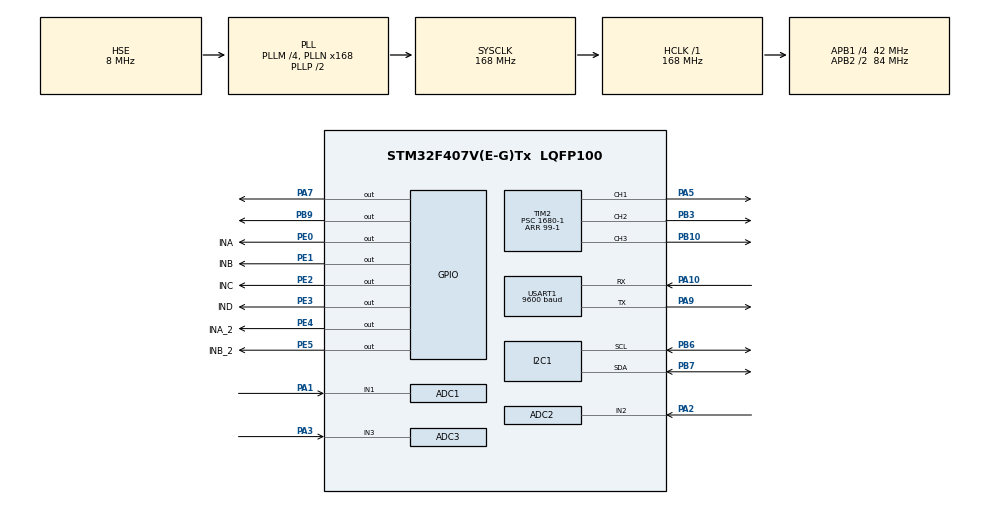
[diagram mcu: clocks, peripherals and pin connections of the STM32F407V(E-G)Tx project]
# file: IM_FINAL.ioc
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ADC1.Channel-3\#ChannelRegularConversion=ADC_CHANNEL_1
ADC1.ClockPrescaler=ADC_CLOCK_SYNC_PCLK_DIV8
ADC1.ContinuousConvMode=ENABLE
ADC1.NbrOfConversionFlag=1
ADC1.Rank-3\#ChannelRegularConversion=1
ADC1.SamplingTime-3\#ChannelRegularConversion=ADC_SAMPLETIME_15CYCLES
ADC1.master=1
ADC2.Channel-1\#ChannelRegularConversion=ADC_CHANNEL_2
ADC2.ClockPrescaler=ADC_CLOCK_SYNC_PCLK_DIV8
ADC2.ContinuousConvMode=ENABLE
ADC2.NbrOfConversionFlag=1
ADC2.Rank-1\#ChannelRegularConversion=1
ADC2.SamplingTime-1\#ChannelRegularConversion=ADC_SAMPLETIME_15CYCLES
ADC3.Channel-0\#ChannelRegularConversion=ADC_CHANNEL_3
ADC3.ClockPrescaler=ADC_CLOCK_SYNC_PCLK_DIV8
ADC3.ContinuousConvMode=ENABLE
ADC3.NbrOfConversionFlag=1
ADC3.Rank-0\#ChannelRegularConversion=1
ADC3.SamplingTime-0\#ChannelRegularConversion=ADC_SAMPLETIME_15CYCLES
I2C1.I2C_Mode=I2C_Fast
Mcu.Family=STM32F4
Mcu.Name=STM32F407V(E-G)Tx
Mcu.Package=LQFP100
NVIC.PriorityGroup=NVIC_PRIORITYGROUP_0
NVIC.USART1_IRQn=true\:0\:0\:false\:false\:true\:true\:true\:true
PA1.Signal=ADCx_IN1
PA10.GPIO_PuPd=GPIO_NOPULL
PA10.GPIO_Speed=GPIO_SPEED_FREQ_VERY_HIGH
PA10.Mode=Asynchronous
PA10.Signal=USART1_RX
PA13.Mode=Serial_Wire
PA13.Signal=SYS_JTMS-SWDIO
PA14.Mode=Serial_Wire
PA14.Signal=SYS_JTCK-SWCLK
PA2.Signal=ADCx_IN2
PA3.Signal=ADCx_IN3
PA5.Signal=S_TIM2_CH1_ETR
PA7.Signal=GPIO_Output
PA9.Mode=Asynchronous
PA9.Signal=USART1_TX
PB10.Signal=S_TIM2_CH3
PB3.Signal=S_TIM2_CH2
PB6.Mode=I2C
PB6.Signal=I2C1_SCL
PB7.Mode=I2C
PB7.Signal=I2C1_SDA
PB9.Signal=GPIO_Output
PE0.GPIO_Label=INA
PE0.Signal=GPIO_Output
PE1.GPIO_Label=INB
PE1.Signal=GPIO_Output
PE2.GPIO_Label=INC
PE2.Signal=GPIO_Output
PE3.GPIO_Label=IND
PE3.Signal=GPIO_Output
PE4.GPIO_Label=INA_2
PE4.Signal=GPIO_Output
PE5.GPIO_Label=INB_2
PE5.Signal=GPIO_Output
PH0-OSC_IN.Mode=HSE-External-Oscillator
PH0-OSC_IN.Signal=RCC_OSC_IN
PH1-OSC_OUT.Mode=HSE-External-Oscillator
PH1-OSC_OUT.Signal=RCC_OSC_OUT
ProjectManager.HeapSize=0x200
ProjectManager.StackSize=0x400
ProjectManager.TargetToolchain=STM32CubeIDE
RCC.48MHZClocksFreq_Value=48000000
RCC.AHBFreq_Value=168000000
RCC.APB1CLKDivider=RCC_HCLK_DIV4
RCC.APB1Freq_Value=42000000
RCC.APB1TimFreq_Value=84000000
RCC.APB2CLKDivider=RCC_HCLK_DIV2
RCC.APB2Freq_Value=84000000
RCC.APB2TimFreq_Value=168000000
RCC.CortexFreq_Value=168000000
RCC.HCLKFreq_Value=168000000
RCC.HSE_VALUE=8000000
RCC.HSI_VALUE=16000000
RCC.LSE_VALUE=32768
RCC.PLLM=4
RCC.PLLN=168
RCC.PLLQ=7
RCC.PLLSourceVirtual=RCC_PLLSOURCE_HSE
RCC.SYSCLKFreq_VALUE=168000000
RCC.SYSCLKSource=RCC_SYSCLKSOURCE_PLLCLK
RCC.VCOOutputFreq_Value=336000000
SH.ADCx_IN1.0=ADC1_IN1,IN1
SH.ADCx_IN2.0=ADC2_IN2,IN2
SH.ADCx_IN3.0=ADC3_IN3,IN3
SH.S_TIM2_CH1_ETR.0=TIM2_CH1,PWM Generation1 CH1
SH.S_TIM2_CH2.0=TIM2_CH2,PWM Generation2 CH2
SH.S_TIM2_CH3.0=TIM2_CH3,PWM Generation3 CH3
TIM1.Period=0xffff-1
TIM1.Prescaler=168-1
TIM2.Channel-PWM\ Generation1\ CH1=TIM_CHANNEL_1
TIM2.Channel-PWM\ Generation2\ CH2=TIM_CHANNEL_2
TIM2.Channel-PWM\ Generation3\ CH3=TIM_CHANNEL_3
TIM2.Period=99-1
TIM2.Prescaler=1680-1
USART1.BaudRate=9600
USART1.VirtualMode=VM_ASYNC
VP_TIM1_VS_ClockSourceINT.Mode=Internal
board=STM32F407G-DISC1

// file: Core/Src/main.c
/* USER CODE BEGIN Header */
/**
  ******************************************************************************
  * @file           : main.c
  * @brief          : Main program body
  ******************************************************************************
  * @attention
  *
  * Copyright (c) 2024 STMicroelectronics.
  * All rights reserved.
  *
  * This software is licensed under terms that can be found in the LICENSE file
  * in the root directory of this software component.
  * If no LICENSE file comes with this software, it is provided AS-IS.
  *
  ******************************************************************************
  */
/* USER CODE END Header */
#include "main.h"

/* USER CODE BEGIN Includes */
#include "fonts.h"
#include "Sensor_Control.h"
#include "ssd1306.h"
#include "stdio.h"
#include <stdbool.h>
#include "string.h"

/* USER CODE END Includes */

ADC_HandleTypeDef hadc1;
ADC_HandleTypeDef hadc2;
ADC_HandleTypeDef hadc3;

I2C_HandleTypeDef hi2c1;

TIM_HandleTypeDef htim1;
TIM_HandleTypeDef htim2;

UART_HandleTypeDef huart1;

/* USER CODE BEGIN PV */
uint8_t rxData;                   // Tek bir byte veri
char buffer[100]; // Buffer boyutunu artırdım
/* USER CODE END PV */

void SystemClock_Config(void);
static void MX_GPIO_Init(void);
static void MX_I2C1_Init(void);
static void MX_TIM1_Init(void);
static void MX_ADC1_Init(void);
static void MX_TIM2_Init(void);
static void MX_ADC2_Init(void);
static void MX_ADC3_Init(void);
static void MX_USART1_UART_Init(void);

/* USER CODE BEGIN 0 */

// Kritik seviyeler
#define SOIL_MOISTURE_CRITICAL_LOW 80  // %
#define HUMIDITY_CRITICAL_LOW 60       // %
#define HUMIDITY_CRITICAL_HIGH 70      // %
#define TEMPERATURE_CRITICAL_HIGH 25  // Derece
#define CO2_CRITICAL_PPM 8            // %
#define LDR_CRITICAL 75              // %

// Pin tanımları
#define FAN_INA GPIO_PIN_0
#define FAN_INB GPIO_PIN_1
#define LIGHT_INA GPIO_PIN_2
#define LIGHT_INB GPIO_PIN_3
#define PUMP_INA GPIO_PIN_4
#define PUMP_INB GPIO_PIN_5
#define CONTROL_PORT GPIOE

uint8_t SoilMoistureSensor = 0,LdrSensor = 0, MQ135Sensor = 0;

/* USER CODE BEGIN 0 */
#define DHT11_PORT GPIOB
#define DHT11_PIN GPIO_PIN_9
uint8_t RHI, RHD, TCI, TCD, SUM;
uint32_t pMillis, cMillis;
float tCelsius = 0;
float tFahrenheit = 0;
float RH = 0;
uint8_t TFI = 0;
uint8_t TFD = 0;
char strCopy[15];

void microDelay (uint16_t delay)
{
  __HAL_TIM_SET_COUNTER(&htim1, 0);
  while (__HAL_TIM_GET_COUNTER(&htim1) < delay);
}

uint8_t DHT11_Start (void)
{
  uint8_t Response = 0;
  GPIO_InitTypeDef GPIO_InitStructPrivate = {0};
  GPIO_InitStructPrivate.Pin = DHT11_PIN;
  GPIO_InitStructPrivate.Mode = GPIO_MODE_OUTPUT_PP;
  GPIO_InitStructPrivate.Speed = GPIO_SPEED_FREQ_LOW;
  GPIO_InitStructPrivate.Pull = GPIO_NOPULL;
  HAL_GPIO_Init(DHT11_PORT, &GPIO_InitStructPrivate); // set the pin as output
  HAL_GPIO_WritePin (DHT11_PORT, DHT11_PIN, 0);   // pull the pin low
  HAL_Delay(20);   // wait for 20ms
  HAL_GPIO_WritePin (DHT11_PORT, DHT11_PIN, 1);   // pull the pin high
  microDelay (30);   // wait for 30us
  GPIO_InitStructPrivate.Mode = GPIO_MODE_INPUT;
  GPIO_InitStructPrivate.Pull = GPIO_PULLUP;
  HAL_GPIO_Init(DHT11_PORT, &GPIO_InitStructPrivate); // set the pin as input
  microDelay (40);
  if (!(HAL_GPIO_ReadPin (DHT11_PORT, DHT11_PIN)))
  {
    microDelay (80);
    if ((HAL_GPIO_ReadPin (DHT11_PORT, DHT11_PIN))) Response = 1;
  }
  pMillis = HAL_GetTick();
  cMillis = HAL_GetTick();
  while ((HAL_GPIO_ReadPin (DHT11_PORT, DHT11_PIN)) && pMillis + 2 > cMillis)
  {
    cMillis = HAL_GetTick();
  }
  return Response;
}

uint8_t DHT11_Read (void)
{
  uint8_t a,b;
  for (a=0;a<8;a++)
  {
    pMillis = HAL_GetTick();
    cMillis = HAL_GetTick();
    while (!(HAL_GPIO_ReadPin (DHT11_PORT, DHT11_PIN)) && pMillis + 2 > cMillis)
    {  // wait for the pin to go high
      cMillis = HAL_GetTick();
    }
    microDelay (40);   // wait for 40 us
    if (!(HAL_GPIO_ReadPin (DHT11_PORT, DHT11_PIN)))   // if the pin is low
      b&= ~(1<<(7-a));
    else
      b|= (1<<(7-a));
    pMillis = HAL_GetTick();
    cMillis = HAL_GetTick();
    while ((HAL_GPIO_ReadPin (DHT11_PORT, DHT11_PIN)) && pMillis + 2 > cMillis)
    {  // wait for the pin to go low
      cMillis = HAL_GetTick();
    }
  }
  return b;
}
/* USER CODE END 0 */

int main(void)
{

  /* USER CODE BEGIN 1 */
	HAL_GPIO_WritePin(CONTROL_PORT, FAN_INA, GPIO_PIN_RESET);
    HAL_GPIO_WritePin(CONTROL_PORT, FAN_INB, GPIO_PIN_RESET);
    HAL_GPIO_WritePin(CONTROL_PORT, LIGHT_INA, GPIO_PIN_RESET);
    HAL_GPIO_WritePin(CONTROL_PORT, LIGHT_INB, GPIO_PIN_RESET);
    HAL_GPIO_WritePin(CONTROL_PORT, PUMP_INB, GPIO_PIN_RESET);
    HAL_GPIO_WritePin(CONTROL_PORT, PUMP_INA, GPIO_PIN_RESET);
    char msg[10];
  /* USER CODE END 1 */

  /* MCU Configuration--------------------------------------------------------*/

  /* Reset of all peripherals, Initializes the Flash interface and the Systick. */
  HAL_Init();

  /* Configure the system clock */
  SystemClock_Config();

  /* Initialize all configured peripherals */
  MX_GPIO_Init();
  MX_I2C1_Init();
  MX_TIM1_Init();
  MX_ADC1_Init();
  MX_TIM2_Init();
  MX_ADC2_Init();
  MX_ADC3_Init();
  MX_USART1_UART_Init();
  /* USER CODE BEGIN 2 */
  HAL_UART_Receive_IT(&huart1,&rxData,1); // Enabling interrupt receive
  HAL_TIM_Base_Start(&htim1);
  HAL_TIM_Base_Start(&htim2);
  SSD1306_Init();
  Sensor_System_Init(); // Sensörleri başlat

  /* USER CODE END 2 */

  /* Infinite loop */
  /* USER CODE BEGIN WHILE */
  while (1)
  {
	    if(DHT11_Start())
	    {
	      RHI = DHT11_Read(); // Relative humidity integral
	      RHD = DHT11_Read(); // Relative humidity decimal
	      TCI = DHT11_Read(); // Celsius integral
	      TCD = DHT11_Read(); // Celsius decimal
	      SUM = DHT11_Read(); // Check sum
	      if (RHI + RHD + TCI + TCD == SUM)
	      {
	        // Can use RHI and TCI for any purposes if whole number only needed
	        tCelsius = (float)TCI + (float)(TCD/10.0);
	        tFahrenheit = tCelsius * 9/5 + 32;
	        RH = (float)RHI + (float)(RHD/10.0);
	        // Can use tCelsius, tFahrenheit and RH for any purposes
	        TFI = tFahrenheit;  // Fahrenheit integral
	        TFD = tFahrenheit*10-TFI*10; // Fahrenheit decimal
	        sprintf(strCopy,"%d.%d C   ", TCI, TCD);
	        SSD1306_GotoXY (0, 0);
	        SSD1306_Puts (strCopy, &Font_11x18, 1);
	        sprintf(strCopy,"%d.%d F   ", TFI, TFD);
	        SSD1306_GotoXY (0, 20);
	        SSD1306_Puts (strCopy, &Font_11x18, 1);
	        sprintf(strCopy,"%d.%d %%  ", RHI, RHD);
	        SSD1306_GotoXY (0, 40);
	        SSD1306_Puts (strCopy, &Font_11x18, 1);
	        SSD1306_UpdateScreen();
	      }
	    }
	    HAL_Delay(100);

       Sensor_System_Update(&hadc1,&hadc2,&hadc3); // Sensör değerlerini güncelle

	   SoilMoistureSensor = ADC_To_Percentage(&soilMoistureSensor);

	   LdrSensor = ADC_To_Percentage(&ldrSensor);

	   MQ135Sensor = ADC_To_Percentage(&mq135Sensor);

       // Fan kontrolü (Nem, sıcaklık ve CO2)
       if ( MQ135Sensor >= CO2_CRITICAL_PPM ||TCI >= TEMPERATURE_CRITICAL_HIGH ||RHI >= HUMIDITY_CRITICAL_HIGH ){
    	   HAL_GPIO_WritePin(CONTROL_PORT, FAN_INB, GPIO_PIN_SET);
    	   HAL_GPIO_WritePin(CONTROL_PORT, FAN_INA, GPIO_PIN_RESET);
       }
       else
       {
    	   HAL_GPIO_WritePin(CONTROL_PORT, FAN_INB, GPIO_PIN_RESET);
    	   HAL_GPIO_WritePin(CONTROL_PORT, FAN_INA, GPIO_PIN_RESET);
       }

        if ( LdrSensor >= LDR_CRITICAL){
     	   HAL_GPIO_WritePin(CONTROL_PORT, LIGHT_INA, GPIO_PIN_SET);
     	   HAL_GPIO_WritePin(CONTROL_PORT, LIGHT_INB, GPIO_PIN_RESET);
        }
        else
        {
     	   HAL_GPIO_WritePin(CONTROL_PORT, LIGHT_INA, GPIO_PIN_RESET);
     	   HAL_GPIO_WritePin(CONTROL_PORT, LIGHT_INB, GPIO_PIN_RESET);
        }
        if ( SoilMoistureSensor >= SOIL_MOISTURE_CRITICAL_LOW){

               }
               else
               {
            	   HAL_GPIO_WritePin(GPIOA, GPIO_PIN_7, GPIO_PIN_RESET);
               }

       HAL_Delay(100); // 750 ms bekle */

       memset(buffer, 0, sizeof(buffer));
       // Buffer'ı temizle // Toprak nemi, LDR ve hava kalitesi verilerini aynı buffer'a ekleyin
       sprintf(buffer, "Topragin Nemi: %d\r\n", SoilMoistureSensor);
       strcat(buffer, "LDR Degeri: ");
       sprintf(buffer + strlen(buffer), "%d\r\n", LdrSensor);
       strcat(buffer, "Hava Kalitesi: ");
       sprintf(buffer + strlen(buffer), "%d\r\n", MQ135Sensor);
       // UART üzerinden verileri gönderin
       HAL_UART_Transmit_IT(&huart1, (uint8_t*)buffer, strlen(buffer));
       sprintf(msg, "%hu\r\n", SoilMoistureSensor);
           HAL_UART_Transmit(&huart1, (uint8_t*)msg, strlen(msg), LdrSensor);
       // 3 saniye bekleyin
       HAL_Delay(3000);
    /* USER CODE END WHILE */

  }
}

void SystemClock_Config(void)
{
  RCC_OscInitTypeDef RCC_OscInitStruct = {0};
  RCC_ClkInitTypeDef RCC_ClkInitStruct = {0};

  /** Configure the main internal regulator output voltage
  */
  __HAL_RCC_PWR_CLK_ENABLE();
  __HAL_PWR_VOLTAGESCALING_CONFIG(PWR_REGULATOR_VOLTAGE_SCALE1);

  /** Initializes the RCC Oscillators according to the specified parameters
  * in the RCC_OscInitTypeDef structure.
  */
  RCC_OscInitStruct.OscillatorType = RCC_OSCILLATORTYPE_HSE;
  RCC_OscInitStruct.HSEState = RCC_HSE_ON;
  RCC_OscInitStruct.PLL.PLLState = RCC_PLL_ON;
  RCC_OscInitStruct.PLL.PLLSource = RCC_PLLSOURCE_HSE;
  RCC_OscInitStruct.PLL.PLLM = 4;
  RCC_OscInitStruct.PLL.PLLN = 168;
  RCC_OscInitStruct.PLL.PLLP = RCC_PLLP_DIV2;
  RCC_OscInitStruct.PLL.PLLQ = 7;
  if (HAL_RCC_OscConfig(&RCC_OscInitStruct) != HAL_OK)
  {
    Error_Handler();
  }

  /** Initializes the CPU, AHB and APB buses clocks
  */
  RCC_ClkInitStruct.ClockType = RCC_CLOCKTYPE_HCLK|RCC_CLOCKTYPE_SYSCLK
                              |RCC_CLOCKTYPE_PCLK1|RCC_CLOCKTYPE_PCLK2;
  RCC_ClkInitStruct.SYSCLKSource = RCC_SYSCLKSOURCE_PLLCLK;
  RCC_ClkInitStruct.AHBCLKDivider = RCC_SYSCLK_DIV1;
  RCC_ClkInitStruct.APB1CLKDivider = RCC_HCLK_DIV4;
  RCC_ClkInitStruct.APB2CLKDivider = RCC_HCLK_DIV2;

  if (HAL_RCC_ClockConfig(&RCC_ClkInitStruct, FLASH_LATENCY_5) != HAL_OK)
  {
    Error_Handler();
  }
}

static void MX_ADC1_Init(void)
{

  ADC_ChannelConfTypeDef sConfig = {0};

  /** Configure the global features of the ADC (Clock, Resolution, Data Alignment and number of conversion)
  */
  hadc1.Instance = ADC1;
  hadc1.Init.ClockPrescaler = ADC_CLOCK_SYNC_PCLK_DIV8;
  hadc1.Init.Resolution = ADC_RESOLUTION_12B;
  hadc1.Init.ScanConvMode = DISABLE;
  hadc1.Init.ContinuousConvMode = ENABLE;
  hadc1.Init.DiscontinuousConvMode = DISABLE;
  hadc1.Init.ExternalTrigConvEdge = ADC_EXTERNALTRIGCONVEDGE_NONE;
  hadc1.Init.ExternalTrigConv = ADC_SOFTWARE_START;
  hadc1.Init.DataAlign = ADC_DATAALIGN_RIGHT;
  hadc1.Init.NbrOfConversion = 1;
  hadc1.Init.DMAContinuousRequests = DISABLE;
  hadc1.Init.EOCSelection = ADC_EOC_SINGLE_CONV;
  if (HAL_ADC_Init(&hadc1) != HAL_OK)
  {
    Error_Handler();
  }

  /** Configure for the selected ADC regular channel its corresponding rank in the sequencer and its sample time.
  */
  sConfig.Channel = ADC_CHANNEL_1;
  sConfig.Rank = 1;
  sConfig.SamplingTime = ADC_SAMPLETIME_15CYCLES;
  if (HAL_ADC_ConfigChannel(&hadc1, &sConfig) != HAL_OK)
  {
    Error_Handler();
  }

}

static void MX_ADC2_Init(void)
{

  ADC_ChannelConfTypeDef sConfig = {0};

  /** Configure the global features of the ADC (Clock, Resolution, Data Alignment and number of conversion)
  */
  hadc2.Instance = ADC2;
  hadc2.Init.ClockPrescaler = ADC_CLOCK_SYNC_PCLK_DIV8;
  hadc2.Init.Resolution = ADC_RESOLUTION_12B;
  hadc2.Init.ScanConvMode = DISABLE;
  hadc2.Init.ContinuousConvMode = ENABLE;
  hadc2.Init.DiscontinuousConvMode = DISABLE;
  hadc2.Init.ExternalTrigConvEdge = ADC_EXTERNALTRIGCONVEDGE_NONE;
  hadc2.Init.ExternalTrigConv = ADC_SOFTWARE_START;
  hadc2.Init.DataAlign = ADC_DATAALIGN_RIGHT;
  hadc2.Init.NbrOfConversion = 1;
  hadc2.Init.DMAContinuousRequests = DISABLE;
  hadc2.Init.EOCSelection = ADC_EOC_SINGLE_CONV;
  if (HAL_ADC_Init(&hadc2) != HAL_OK)
  {
    Error_Handler();
  }

  /** Configure for the selected ADC regular channel its corresponding rank in the sequencer and its sample time.
  */
  sConfig.Channel = ADC_CHANNEL_2;
  sConfig.Rank = 1;
  sConfig.SamplingTime = ADC_SAMPLETIME_15CYCLES;
  if (HAL_ADC_ConfigChannel(&hadc2, &sConfig) != HAL_OK)
  {
    Error_Handler();
  }

}

static void MX_ADC3_Init(void)
{

  ADC_ChannelConfTypeDef sConfig = {0};

  /** Configure the global features of the ADC (Clock, Resolution, Data Alignment and number of conversion)
  */
  hadc3.Instance = ADC3;
  hadc3.Init.ClockPrescaler = ADC_CLOCK_SYNC_PCLK_DIV8;
  hadc3.Init.Resolution = ADC_RESOLUTION_12B;
  hadc3.Init.ScanConvMode = DISABLE;
  hadc3.Init.ContinuousConvMode = ENABLE;
  hadc3.Init.DiscontinuousConvMode = DISABLE;
  hadc3.Init.ExternalTrigConvEdge = ADC_EXTERNALTRIGCONVEDGE_NONE;
  hadc3.Init.ExternalTrigConv = ADC_SOFTWARE_START;
  hadc3.Init.DataAlign = ADC_DATAALIGN_RIGHT;
  hadc3.Init.NbrOfConversion = 1;
  hadc3.Init.DMAContinuousRequests = DISABLE;
  hadc3.Init.EOCSelection = ADC_EOC_SINGLE_CONV;
  if (HAL_ADC_Init(&hadc3) != HAL_OK)
  {
    Error_Handler();
  }

  /** Configure for the selected ADC regular channel its corresponding rank in the sequencer and its sample time.
  */
  sConfig.Channel = ADC_CHANNEL_3;
  sConfig.Rank = 1;
  sConfig.SamplingTime = ADC_SAMPLETIME_15CYCLES;
  if (HAL_ADC_ConfigChannel(&hadc3, &sConfig) != HAL_OK)
  {
    Error_Handler();
  }

}

static void MX_I2C1_Init(void)
{

  hi2c1.Instance = I2C1;
  hi2c1.Init.ClockSpeed = 400000;
  hi2c1.Init.DutyCycle = I2C_DUTYCYCLE_2;
  hi2c1.Init.OwnAddress1 = 0;
  hi2c1.Init.AddressingMode = I2C_ADDRESSINGMODE_7BIT;
  hi2c1.Init.DualAddressMode = I2C_DUALADDRESS_DISABLE;
  hi2c1.Init.OwnAddress2 = 0;
  hi2c1.Init.GeneralCallMode = I2C_GENERALCALL_DISABLE;
  hi2c1.Init.NoStretchMode = I2C_NOSTRETCH_DISABLE;
  if (HAL_I2C_Init(&hi2c1) != HAL_OK)
  {
    Error_Handler();
  }

}

static void MX_TIM1_Init(void)
{

  TIM_ClockConfigTypeDef sClockSourceConfig = {0};
  TIM_MasterConfigTypeDef sMasterConfig = {0};

  htim1.Instance = TIM1;
  htim1.Init.Prescaler = 168-1;
  htim1.Init.CounterMode = TIM_COUNTERMODE_UP;
  htim1.Init.Period = 0xffff-1;
  htim1.Init.ClockDivision = TIM_CLOCKDIVISION_DIV1;
  htim1.Init.RepetitionCounter = 0;
  htim1.Init.AutoReloadPreload = TIM_AUTORELOAD_PRELOAD_DISABLE;
  if (HAL_TIM_Base_Init(&htim1) != HAL_OK)
  {
    Error_Handler();
  }
  sClockSourceConfig.ClockSource = TIM_CLOCKSOURCE_INTERNAL;
  if (HAL_TIM_ConfigClockSource(&htim1, &sClockSourceConfig) != HAL_OK)
  {
    Error_Handler();
  }
  sMasterConfig.MasterOutputTrigger = TIM_TRGO_RESET;
  sMasterConfig.MasterSlaveMode = TIM_MASTERSLAVEMODE_DISABLE;
  if (HAL_TIMEx_MasterConfigSynchronization(&htim1, &sMasterConfig) != HAL_OK)
  {
    Error_Handler();
  }

}

static void MX_TIM2_Init(void)
{

  TIM_MasterConfigTypeDef sMasterConfig = {0};
  TIM_OC_InitTypeDef sConfigOC = {0};

  htim2.Instance = TIM2;
  htim2.Init.Prescaler = 1680-1;
  htim2.Init.CounterMode = TIM_COUNTERMODE_UP;
  htim2.Init.Period = 99-1;
  htim2.Init.ClockDivision = TIM_CLOCKDIVISION_DIV1;
  htim2.Init.AutoReloadPreload = TIM_AUTORELOAD_PRELOAD_DISABLE;
  if (HAL_TIM_PWM_Init(&htim2) != HAL_OK)
  {
    Error_Handler();
  }
  sMasterConfig.MasterOutputTrigger = TIM_TRGO_RESET;
  sMasterConfig.MasterSlaveMode = TIM_MASTERSLAVEMODE_DISABLE;
  if (HAL_TIMEx_MasterConfigSynchronization(&htim2, &sMasterConfig) != HAL_OK)
  {
    Error_Handler();
  }
  sConfigOC.OCMode = TIM_OCMODE_PWM1;
  sConfigOC.Pulse = 0;
  sConfigOC.OCPolarity = TIM_OCPOLARITY_HIGH;
  sConfigOC.OCFastMode = TIM_OCFAST_DISABLE;
  if (HAL_TIM_PWM_ConfigChannel(&htim2, &sConfigOC, TIM_CHANNEL_1) != HAL_OK)
  {
    Error_Handler();
  }
  if (HAL_TIM_PWM_ConfigChannel(&htim2, &sConfigOC, TIM_CHANNEL_2) != HAL_OK)
  {
    Error_Handler();
  }
  if (HAL_TIM_PWM_ConfigChannel(&htim2, &sConfigOC, TIM_CHANNEL_3) != HAL_OK)
  {
    Error_Handler();
  }
  HAL_TIM_MspPostInit(&htim2);

}

static void MX_USART1_UART_Init(void)
{

  huart1.Instance = USART1;
  huart1.Init.BaudRate = 9600;
  huart1.Init.WordLength = UART_WORDLENGTH_8B;
  huart1.Init.StopBits = UART_STOPBITS_1;
  huart1.Init.Parity = UART_PARITY_NONE;
  huart1.Init.Mode = UART_MODE_TX_RX;
  huart1.Init.HwFlowCtl = UART_HWCONTROL_NONE;
  huart1.Init.OverSampling = UART_OVERSAMPLING_16;
  if (HAL_UART_Init(&huart1) != HAL_OK)
  {
    Error_Handler();
  }

}

static void MX_GPIO_Init(void)
{
  GPIO_InitTypeDef GPIO_InitStruct = {0};

  /* GPIO Ports Clock Enable */
  __HAL_RCC_GPIOE_CLK_ENABLE();
  __HAL_RCC_GPIOH_CLK_ENABLE();
  __HAL_RCC_GPIOA_CLK_ENABLE();
  __HAL_RCC_GPIOB_CLK_ENABLE();

  /*Configure GPIO pin Output Level */
  HAL_GPIO_WritePin(GPIOE, INC_Pin|IND_Pin|INA_2_Pin|INB_2_Pin
                          |INA_Pin|INB_Pin, GPIO_PIN_RESET);

  /*Configure GPIO pin Output Level */
  HAL_GPIO_WritePin(GPIOA, GPIO_PIN_7, GPIO_PIN_RESET);

  /*Configure GPIO pin Output Level */
  HAL_GPIO_WritePin(GPIOB, GPIO_PIN_9, GPIO_PIN_RESET);

  /*Configure GPIO pins : INC_Pin IND_Pin INA_2_Pin INB_2_Pin
                           INA_Pin INB_Pin */
  GPIO_InitStruct.Pin = INC_Pin|IND_Pin|INA_2_Pin|INB_2_Pin
                          |INA_Pin|INB_Pin;
  GPIO_InitStruct.Mode = GPIO_MODE_OUTPUT_PP;
  GPIO_InitStruct.Pull = GPIO_NOPULL;
  GPIO_InitStruct.Speed = GPIO_SPEED_FREQ_LOW;
  HAL_GPIO_Init(GPIOE, &GPIO_InitStruct);

  /*Configure GPIO pin : PA7 */
  GPIO_InitStruct.Pin = GPIO_PIN_7;
  GPIO_InitStruct.Mode = GPIO_MODE_OUTPUT_PP;
  GPIO_InitStruct.Pull = GPIO_NOPULL;
  GPIO_InitStruct.Speed = GPIO_SPEED_FREQ_LOW;
  HAL_GPIO_Init(GPIOA, &GPIO_InitStruct);

  /*Configure GPIO pin : PB9 */
  GPIO_InitStruct.Pin = GPIO_PIN_9;
  GPIO_InitStruct.Mode = GPIO_MODE_OUTPUT_PP;
  GPIO_InitStruct.Pull = GPIO_NOPULL;
  GPIO_InitStruct.Speed = GPIO_SPEED_FREQ_LOW;
  HAL_GPIO_Init(GPIOB, &GPIO_InitStruct);

}

/* USER CODE BEGIN 4 */

void HAL_UART_RxCpltCallback(UART_HandleTypeDef *huart)
{
  if(huart->Instance==USART1)
  {
    if(rxData==78) // Ascii value of 'N' is 78 (N for NO)
    {
    	HAL_GPIO_WritePin(GPIOA, GPIO_PIN_7, 0);
    }
    else if (rxData==89) // Ascii value of 'Y' is 89 (Y for YES)
    {
    	HAL_GPIO_WritePin(GPIOA, GPIO_PIN_7, 1);
    }
    HAL_UART_Transmit_IT(&huart1, &rxData, 1);
    HAL_UART_Receive_IT(&huart1,&rxData,1); // Enabling interrupt receive again
  }
}

void HAL_UART_TxCpltCallback(UART_HandleTypeDef *huart)
{
	if (huart->Instance == USART1)
	{
		// Veri gönderimi tamamlandığında yapılacak işlemler
	}

}
/* USER CODE END 4 */

void Error_Handler(void)
{
  __disable_irq();
  while (1)
  {
  }
}
